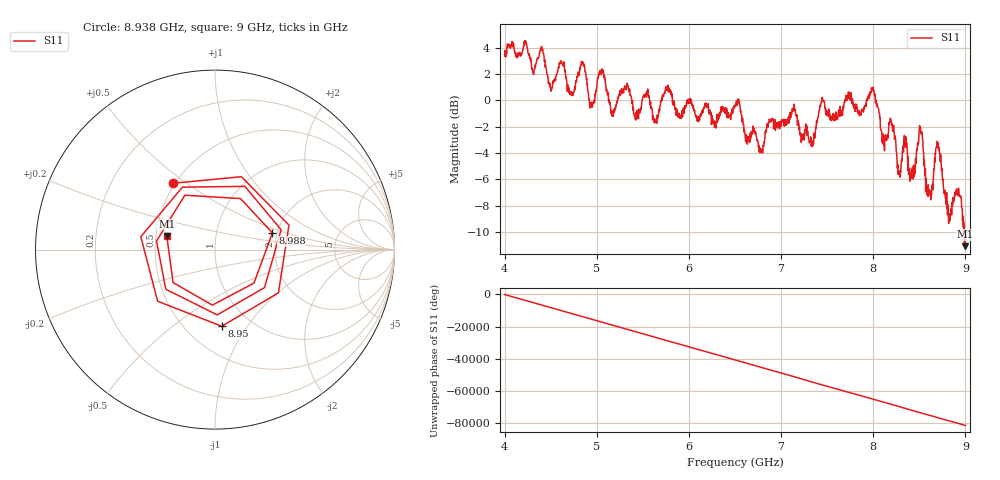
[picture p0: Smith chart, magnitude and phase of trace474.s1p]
! Created with skrf 1.8.0 (http://scikit-rf.org).
# Hz S RI R 50.0
!freq ReS11 ImS11
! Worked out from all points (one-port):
!   1601 points, 4 GHz to 9 GHz, reference 50 ohm
!   lowest |S11| = -11.1 dB at 9 GHz (marker M1), VSWR 1.77, Z = 28.5 + j4.72 ohm
!   |S11| at or under -10 dB: 8.989025 GHz to end of sweep
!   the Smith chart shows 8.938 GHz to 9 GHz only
!   S11 on the Smith chart (normalised r, x): 8.938 GHz: 0.49, +0.45; 8.95 GHz: 0.74, -0.77; 8.988 GHz: 1.89, +0.39; 9 GHz: 0.57, +0.09
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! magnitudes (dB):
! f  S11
! 4 GHz  3.4
! 4.403 GHz  3.9
! 4.5 GHz  1.0
! 4.625 GHz  2.8
! 4.725 GHz  0.4
! 4.853 GHz  2.9
! 4.944 GHz  -0.1
! 5.05 GHz  2.0
! 5.172 GHz  -1.0
! 5.25 GHz  0.4
! 5.875 GHz  -0.9
! 6.5 GHz  -0.4
! 6.778 GHz  -3.7
! 7.125 GHz  -0.8
! 7.328 GHz  -3.5
! 7.444 GHz  0.2
! 7.75 GHz  0.5
! 7.997 GHz  0.7
! 8.278 GHz  -5.6
! 8.375 GHz  -5.3
! 8.512 GHz  -2.1
! 8.606 GHz  -6.8
! 8.697 GHz  -3.2
! 8.825 GHz  -8.8
! 8.938 GHz  -7.2
! 8.95 GHz  -7.4
! 8.988 GHz  -9.6
! 9 GHz  -11.1
